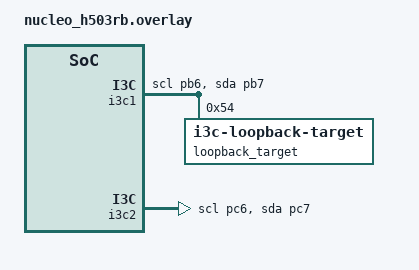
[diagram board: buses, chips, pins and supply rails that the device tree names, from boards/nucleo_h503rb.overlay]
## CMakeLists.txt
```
# Copyright (c) 2026 Meta Platforms
# SPDX-License-Identifier: Apache-2.0

cmake_minimum_required(VERSION 3.20.0)
find_package(Zephyr REQUIRED HINTS $ENV{ZEPHYR_BASE})
project(i3c_loopback_test)

target_sources(app PRIVATE
    src/common.c
    src/test_attach.c
    src/test_ccc.c
    src/test_configure.c
    src/test_daa.c
    src/test_hdr_ddr.c
    src/test_ibi.c
    src/test_target_api.c
    src/test_xfer.c
)

target_include_directories(app PRIVATE src)
```

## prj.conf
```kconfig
# Copyright (c) 2026 Meta Platforms
# SPDX-License-Identifier: Apache-2.0

# I3C subsys, dual-role so one controller can be put in target mode.
CONFIG_I3C=y
CONFIG_I3C_DUAL_ROLE=y

# IBI on both sides — controller delivers IBI callbacks via workq.
CONFIG_I3C_USE_IBI=y
CONFIG_I3C_IBI_WORKQUEUE=y
CONFIG_I3C_IBI_MAX_PAYLOAD_SIZE=16

# Testing
CONFIG_ZTEST=y
CONFIG_ZTEST_STACK_SIZE=4096

# Logging — useful when debugging on real hardware
CONFIG_LOG=y
CONFIG_I3C_LOG_LEVEL_DBG=y

# Heap for the few cases that allocate transient buffers.
CONFIG_HEAP_MEM_POOL_SIZE=4096

# Bigger main stack — DAA + multiple back-to-back transfers in setup.
CONFIG_MAIN_STACK_SIZE=4096
```

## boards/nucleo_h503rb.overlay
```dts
/*
 * Copyright (c) 2026 Meta Platforms
 * SPDX-License-Identifier: Apache-2.0
 *
 * Build-only overlay for nucleo_h503rb. The STM32H503RB exposes two
 * st,stm32-i3c controllers (i3c1, i3c2) and the package has pinctrl
 * options for both. To actually run the loopback test on hardware,
 * jumper i3c1's SCL/SDA pins (PB6/PB7) to i3c2's (PC6/PC7); twister
 * will execute only when the user passes --fixture i3c_loopback.
 *
 * i2c1 is disabled because it shares PB6/PB7 with i3c1.
 */

#include <zephyr/dt-bindings/i2c/i2c.h>

&i2c1 {
	status = "disabled";
};

&i3c1 {
	pinctrl-0 = <&i3c1_scl_pb6 &i3c1_sda_pb7>;
	pinctrl-names = "default";
	i3c-scl-hz = <12500000>;
	i2c-scl-hz = <I2C_BITRATE_FAST_PLUS>;
	status = "okay";

	loopback_target: target@5400abcd00001234 {
		compatible = "zephyr,i3c-loopback-target";
		reg = <0x54 0xabcd 0x00001234>;
	};
};

&i3c2 {
	pinctrl-0 = <&i3c2_scl_pc6 &i3c2_sda_pc7>;
	pinctrl-names = "default";
	i3c-scl-hz = <12500000>;
	i2c-scl-hz = <I2C_BITRATE_FAST_PLUS>;
	status = "okay";
};

/ {
	aliases {
		i3c-loopback-controller = &i3c1;
		i3c-loopback-target = &i3c2;
	};
};
```

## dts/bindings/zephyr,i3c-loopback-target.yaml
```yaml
# Copyright (c) 2026 Meta Platforms
# SPDX-License-Identifier: Apache-2.0

description: |
  Loopback target peripheral entry. Describes the static-address /
  PID portion of the loopback target so the controller bus can
  enumerate it during DAA. All other identity (BCR, DCR, MRL, MWL,
  supported HDR modes) is queried at runtime from the target-mode
  controller via i3c_config_get_target() so the test never duplicates
  the truth.

  reg cells: <static_addr  pid_hi  pid_lo>
    static_addr  — 0 if no static address (only DAA assignment)
    pid_hi       — bits[47:32] of the 48-bit Provisioned ID
    pid_lo       — bits[31:0]  of the 48-bit Provisioned ID

compatible: "zephyr,i3c-loopback-target"

include: i3c-device.yaml
```

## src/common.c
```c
/*
 * Copyright (c) 2026 Meta Platforms
 *
 * SPDX-License-Identifier: Apache-2.0
 */

#include "common.h"

#include <string.h>
#include <zephyr/init.h>
#include <zephyr/logging/log.h>

LOG_MODULE_REGISTER(i3c_loopback, LOG_LEVEL_INF);

const struct device *loopback_controller = DEVICE_DT_GET(LOOPBACK_CONTROLLER_NODE);
const struct device *loopback_target = DEVICE_DT_GET(LOOPBACK_TARGET_NODE);
struct i3c_device_desc *loopback_desc;

struct loopback_state g_loopback;

/* --- target-side callbacks --- */

static int loopback_target_write_received(struct i3c_target_config *cfg, uint8_t b)
{
	ARG_UNUSED(cfg);

	if (g_loopback.rx_cnt < LOOPBACK_RX_BUF_SIZE) {
		g_loopback.rx_buf[g_loopback.rx_cnt++] = b;
	}
	g_loopback.write_received_count++;
	return 0;
}

static int loopback_target_read_processed(struct i3c_target_config *cfg, uint8_t *b)
{
	ARG_UNUSED(cfg);

	/* TH callback continues a transfer past the controller's TX FIFO size.
	 * Only feeds bytes that were primed before the read began.
	 */
	if ((g_loopback.tx_cursor != 0) && (g_loopback.tx_cursor < g_loopback.tx_len)) {
		*b = g_loopback.tx_buf[g_loopback.tx_cursor++];
		g_loopback.read_processed_count++;
		return 0;
	}

	return -1;
}

static int loopback_target_stop(struct i3c_target_config *cfg)
{
	ARG_UNUSED(cfg);
	g_loopback.stop_count++;
	k_sem_give(&g_loopback.stop_sem);
	return 0;
}

const struct i3c_target_callbacks loopback_target_cbs = {
	.write_requested_cb = NULL,
	.write_received_cb = loopback_target_write_received,
	.read_requested_cb = NULL,
	.read_processed_cb = loopback_target_read_processed,
	.stop_cb = loopback_target_stop,
};

static struct i3c_target_config loopback_target_cfg = {
	.callbacks = &loopback_target_cbs,
};

/* --- controller-side IBI callback --- */

static int loopback_ibi_cb(struct i3c_device_desc *desc, struct i3c_ibi_payload *payload)
{
	ARG_UNUSED(desc);

	g_loopback.ibi_payload_len = MIN(payload->payload_len, CONFIG_I3C_IBI_MAX_PAYLOAD_SIZE);
	memcpy(g_loopback.ibi_payload, payload->payload, g_loopback.ibi_payload_len);
	k_sem_give(&g_loopback.ibi_sem);
	return 0;
}

/* --- helpers --- */

void loopback_reset_state(void)
{
	memset(g_loopback.rx_buf, 0, sizeof(g_loopback.rx_buf));
	memset(g_loopback.tx_buf, 0, sizeof(g_loopback.tx_buf));
	memset(g_loopback.ibi_payload, 0, sizeof(g_loopback.ibi_payload));
	g_loopback.rx_cnt = 0;
	g_loopback.tx_cursor = 0;
	g_loopback.tx_len = 0;
	g_loopback.ibi_payload_len = 0;
	g_loopback.stop_count = 0;
	g_loopback.write_received_count = 0;
	g_loopback.read_processed_count = 0;
	k_sem_reset(&g_loopback.stop_sem);
	k_sem_reset(&g_loopback.ibi_sem);
}

int loopback_redo_daa(void)
{
	int ret;

	ret = i3c_bus_rstdaa_all(loopback_controller);
	if (ret != 0) {
		return ret;
	}

	ret = i3c_do_daa(loopback_controller);
	if (ret != 0) {
		return ret;
	}

	if (loopback_desc != NULL && loopback_desc->dynamic_addr == 0) {
		return -ENODEV;
	}

	return 0;
}

int loopback_prime_target_tx(const uint8_t *data, size_t len, uint8_t hdr_mode)
{
	int ret;

	if (len > LOOPBACK_TX_BUF_SIZE) {
		return -EINVAL;
	}
	memcpy(g_loopback.tx_buf, data, len);
	g_loopback.tx_len = len;
	ret = i3c_target_tx_write(loopback_target, g_loopback.tx_buf, len, hdr_mode);
	if (ret < 0) {
		return ret;
	}
	g_loopback.tx_cursor = ret;
	return 0;
}

/* --- one-shot init: register target, do initial DAA, cache the desc --- */

static int loopback_global_init(void)
{
	int ret;
	const struct i3c_device_id id = I3C_DEVICE_ID_DT(LOOPBACK_TARGET_DESC_NODE);

	k_sem_init(&g_loopback.stop_sem, 0, 1);
	k_sem_init(&g_loopback.ibi_sem, 0, 1);

	if (!device_is_ready(loopback_controller)) {
		LOG_ERR("controller not ready");
		return -ENODEV;
	}
	if (!device_is_ready(loopback_target)) {
		LOG_ERR("target not ready");
		return -ENODEV;
	}

	ret = i3c_target_register(loopback_target, &loopback_target_cfg);
	if (ret != 0) {
		LOG_ERR("i3c_target_register: %d", ret);
		return ret;
	}

	loopback_desc = i3c_device_find(loopback_controller, &id);
	if (loopback_desc == NULL) {
		LOG_ERR("i3c_device_find for loopback target PID returned NULL");
		return -ENODEV;
	}
	loopback_desc->ibi_cb = loopback_ibi_cb;

	/* The controller's bus init normally runs DAA at boot; redo here so
	 * the desc has a DA known to be in sync after target_register
	 * (target_register may have changed the target side's DA state).
	 */
	ret = loopback_redo_daa();
	if (ret != 0) {
		LOG_ERR("initial DAA failed: %d", ret);
		return ret;
	}

	return 0;
}

SYS_INIT(loopback_global_init, APPLICATION, 90);

/*
 * Some I3C controller drivers enumerate child nodes at build time into a
 * per-controller device array; each child needs a backing DEVICE_DT_DEFINE
 * even when the actual device is just a marker for the loopback target.
 * This satisfies the linker without adding any runtime behavior.
 */
static int loopback_target_stub_init(const struct device *dev)
{
	ARG_UNUSED(dev);
	return 0;
}
I3C_DEVICE_DT_DEFINE(LOOPBACK_TARGET_DESC_NODE, loopback_target_stub_init, NULL, NULL, NULL,
		     POST_KERNEL, 80, NULL);
```

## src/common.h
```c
/*
 * Copyright (c) 2026 Meta Platforms
 *
 * SPDX-License-Identifier: Apache-2.0
 */

#ifndef I3C_LOOPBACK_COMMON_H_
#define I3C_LOOPBACK_COMMON_H_

#include <zephyr/devicetree.h>
#include <zephyr/device.h>
#include <zephyr/drivers/i3c.h>
#include <zephyr/drivers/i3c/target_device.h>
#include <zephyr/kernel.h>
#include <zephyr/ztest.h>
#include <stdint.h>

/*
 * Devicetree wiring contract (see README.rst):
 *   - i3c-loopback-controller : controller-mode bus
 *   - i3c-loopback-target     : target-mode bus
 *   - on the controller bus, a child of compatible
 *     "zephyr,i3c-loopback-target" describes the loopback target's
 *     static address and PID. All other identity (BCR, DCR, MRL,
 *     MWL, supported HDR modes) is queried at runtime from the
 *     target-mode controller via i3c_config_get_target() so the
 *     test never duplicates the truth.
 */
#define LOOPBACK_CONTROLLER_NODE DT_ALIAS(i3c_loopback_controller)
#define LOOPBACK_TARGET_NODE	 DT_ALIAS(i3c_loopback_target)
#define LOOPBACK_TARGET_DESC_NODE                                                                  \
	DT_COMPAT_GET_ANY_STATUS_OKAY(zephyr_i3c_loopback_target)

BUILD_ASSERT(DT_NODE_HAS_STATUS(LOOPBACK_CONTROLLER_NODE, okay),
	     "missing i3c-loopback-controller alias or node not okay");
BUILD_ASSERT(DT_NODE_HAS_STATUS(LOOPBACK_TARGET_NODE, okay),
	     "missing i3c-loopback-target alias or node not okay");
BUILD_ASSERT(DT_NODE_EXISTS(LOOPBACK_TARGET_DESC_NODE),
	     "missing zephyr,i3c-loopback-target child node");

/* Static 64-bit PID derived from the target child node's reg cells. */
#define LOOPBACK_TARGET_PID                                                                        \
	((((uint64_t)DT_PROP_BY_IDX(LOOPBACK_TARGET_DESC_NODE, reg, 1)) << 32) |                   \
	 ((uint64_t)DT_PROP_BY_IDX(LOOPBACK_TARGET_DESC_NODE, reg, 2)))

/*
 * Per-test state shared between target-side callbacks and the test thread.
 * A single global so registration is one-time; each test's `before` hook
 * zeroes the fields it cares about.
 */
#define LOOPBACK_RX_BUF_SIZE 64
#define LOOPBACK_TX_BUF_SIZE 64

struct loopback_state {
	struct k_sem stop_sem;	   /* released from target's stop_cb */
	struct k_sem ibi_sem;	   /* released from controller's ibi_cb */
	uint8_t rx_buf[LOOPBACK_RX_BUF_SIZE];
	volatile size_t rx_cnt;
	uint8_t tx_buf[LOOPBACK_TX_BUF_SIZE];
	volatile size_t tx_cursor;
	size_t tx_len;
	uint8_t ibi_payload[CONFIG_I3C_IBI_MAX_PAYLOAD_SIZE];
	uint8_t ibi_payload_len;
	volatile uint32_t stop_count;
	volatile uint32_t write_received_count;
	volatile uint32_t read_processed_count;
};

extern struct loopback_state g_loopback;

/*
 * Pre-built target-side callbacks used by suite setup. Each test's
 * `before` hook just zeroes g_loopback fields it cares about; the
 * callbacks themselves stay registered for the lifetime of the test
 * binary.
 */
extern const struct i3c_target_callbacks loopback_target_cbs;

/* Pointers populated by suite setup. */
extern const struct device *loopback_controller;
extern const struct device *loopback_target;
extern struct i3c_device_desc *loopback_desc;

/*
 * Helpers
 */

/*
 * Restore a known-DA state by RSTDAA-then-ENTDAA, leaving
 * loopback_desc->dynamic_addr populated. Tests that change the DA
 * (e.g. via i3c_bus_setnewda) call this in their `before` hook so
 * they don't poison downstream tests.
 */
int loopback_redo_daa(void);

/* Re-prime target TX FIFO with the given payload for the next read. */
int loopback_prime_target_tx(const uint8_t *data, size_t len, uint8_t hdr_mode);

/* Zero g_loopback counters/buffers without disturbing the semaphores. */
void loopback_reset_state(void);

#endif /* I3C_LOOPBACK_COMMON_H_ */
```

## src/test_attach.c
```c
/*
 * Copyright (c) 2026 Meta Platforms
 *
 * SPDX-License-Identifier: Apache-2.0
 *
 * attach / reattach / detach lifecycle (i3c side).
 */

#include "common.h"

#include <zephyr/drivers/i3c.h>
#include <zephyr/ztest.h>

#define WAIT K_MSEC(500)

static void attach_before(void *fixture)
{
	ARG_UNUSED(fixture);
	zassert_ok(loopback_redo_daa());
	loopback_reset_state();
}

static int do_one_write(uint8_t payload)
{
	struct i3c_msg msg = {
		.buf = &payload, .len = 1, .flags = I3C_MSG_WRITE | I3C_MSG_STOP,
	};
	return i3c_transfer(loopback_desc, &msg, 1);
}

ZTEST(i3c_loopback_attach, test_attach_then_xfer_succeeds)
{
	/* The desc is already attached by SYS_INIT — verify a transfer works. */
	zassert_ok(do_one_write(0x10));
	zassert_ok(k_sem_take(&g_loopback.stop_sem, WAIT));
}

ZTEST(i3c_loopback_attach, test_detach_then_xfer_fails)
{
	int ret;

	zassert_ok(i3c_detach_i3c_device(loopback_desc));

	ret = do_one_write(0x11);
	zassert_not_equal(0, ret, "transfer after detach should fail");

	/* Restore: re-attach and redo DAA so downstream tests work. */
	zassert_ok(i3c_attach_i3c_device(loopback_desc));
	zassert_ok(loopback_redo_daa());
}

ZTEST(i3c_loopback_attach, test_reattach_after_setnewda)
{
	uint8_t newda = (loopback_desc->dynamic_addr == 0x55) ? 0x56 : 0x55;

	zassert_ok(i3c_bus_setnewda(loopback_desc, newda));
	zassert_equal(newda, loopback_desc->dynamic_addr);

	zassert_ok(do_one_write(0x12));
	zassert_ok(k_sem_take(&g_loopback.stop_sem, WAIT));

	zassert_ok(loopback_redo_daa());
}

ZTEST(i3c_loopback_attach, test_detach_unknown_returns_status)
{
	struct i3c_device_desc bogus = *loopback_desc;
	int ret;

	bogus.controller_priv = NULL;
	ret = i3c_detach_i3c_device(&bogus);

	zassert_true(ret == 0 || ret == -EINVAL || ret == -ENODEV,
		     "detach of unknown desc should return 0/-EINVAL/-ENODEV, got %d", ret);
}

ZTEST(i3c_loopback_attach, test_reattach_keeps_transfer_working)
{
	uint8_t old_da = loopback_desc->dynamic_addr;

	/* No-op reattach (same DA) — should keep the slot mapping intact. */
	zassert_ok(i3c_reattach_i3c_device(loopback_desc, old_da));
	zassert_ok(do_one_write(0x13));
	zassert_ok(k_sem_take(&g_loopback.stop_sem, WAIT));
}

ZTEST_SUITE(i3c_loopback_attach, NULL, NULL, attach_before, NULL, NULL);
```

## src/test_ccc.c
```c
/*
 * Copyright (c) 2026 Meta Platforms
 *
 * SPDX-License-Identifier: Apache-2.0
 *
 * Common Command Code coverage. Expected target identity values are
 * queried at runtime from i3c_config_get_target() so the test never
 * duplicates DT properties.
 */

#include "common.h"

#include <zephyr/drivers/i3c.h>
#include <zephyr/drivers/i3c/ccc.h>
#include <zephyr/ztest.h>

static struct i3c_config_target tcfg;

static void ccc_before(void *fixture)
{
	ARG_UNUSED(fixture);
	zassert_ok(loopback_redo_daa());
	loopback_reset_state();
	zassert_ok(i3c_config_get_target(loopback_target, &tcfg));
}

ZTEST(i3c_loopback_ccc, test_getbcr)
{
	struct i3c_ccc_getbcr p = { .bcr = 0 };

	zassert_ok(i3c_ccc_do_getbcr(loopback_desc, &p));
	zassert_equal(tcfg.bcr, p.bcr, "expected BCR 0x%02x got 0x%02x", tcfg.bcr, p.bcr);
}

ZTEST(i3c_loopback_ccc, test_getdcr)
{
	struct i3c_ccc_getdcr p = { .dcr = 0 };

	zassert_ok(i3c_ccc_do_getdcr(loopback_desc, &p));
	zassert_equal(tcfg.dcr, p.dcr);
}

ZTEST(i3c_loopback_ccc, test_getpid)
{
	struct i3c_ccc_getpid p;
	uint64_t got = 0;

	zassert_ok(i3c_ccc_do_getpid(loopback_desc, &p));
	for (int i = 0; i < 6; i++) {
		got = (got << 8) | p.pid[i];
	}
	zassert_equal(tcfg.pid, got, "expected PID 0x%012llx got 0x%012llx", tcfg.pid, got);
}

ZTEST(i3c_loopback_ccc, test_getstatus_fmt1)
{
	union i3c_ccc_getstatus status = {0};

	zassert_ok(i3c_ccc_do_getstatus_fmt1(loopback_desc, &status));
}

ZTEST(i3c_loopback_ccc, test_getcaps_fmt1)
{
	union i3c_ccc_getcaps caps = {0};

	/* GETCAPS is mandatory for I3C v1.1+ devices, and for v1.0 devices
	 * only when BCR.ADV_CAPABILITIES is set. Skip when neither applies.
	 */
	if ((loopback_desc->flags & I3C_V1P0_SUPPORT) &&
	    (tcfg.bcr & I3C_BCR_ADV_CAPABILITIES) == 0) {
		ztest_test_skip();
	}

	zassert_ok(i3c_ccc_do_getcaps_fmt1(loopback_desc, &caps));
}

ZTEST(i3c_loopback_ccc, test_getmxds)
{
	union i3c_ccc_getmxds mxds = {0};

	if ((tcfg.bcr & I3C_BCR_MAX_DATA_SPEED_LIMIT) == 0) {
		ztest_test_skip();
	}
	zassert_ok(i3c_ccc_do_getmxds_fmt1(loopback_desc, &mxds));
}

ZTEST(i3c_loopback_ccc, test_getmrl)
{
	struct i3c_ccc_mrl mrl = {0};

	zassert_ok(i3c_ccc_do_getmrl(loopback_desc, &mrl));
	zassert_equal(tcfg.max_read_len, mrl.len,
		      "expected MRL %u got %u", tcfg.max_read_len, mrl.len);
}

ZTEST(i3c_loopback_ccc, test_getmwl)
{
	struct i3c_ccc_mwl mwl = {0};

	zassert_ok(i3c_ccc_do_getmwl(loopback_desc, &mwl));
	zassert_equal(tcfg.max_write_len, mwl.len,
		      "expected MWL %u got %u", tcfg.max_write_len, mwl.len);
}

ZTEST(i3c_loopback_ccc, test_setmrl_then_getmrl_roundtrip)
{
	struct i3c_ccc_mrl set = { .len = 0x40 };
	struct i3c_ccc_mrl get = {0};

	zassert_ok(i3c_ccc_do_setmrl(loopback_desc, &set));
	zassert_ok(i3c_ccc_do_getmrl(loopback_desc, &get));
	zassert_equal(set.len, get.len, "MRL roundtrip: set %u got %u", set.len, get.len);
}

ZTEST(i3c_loopback_ccc, test_setmwl_then_getmwl_roundtrip)
{
	struct i3c_ccc_mwl set = { .len = 0x20 };
	struct i3c_ccc_mwl get = {0};

	zassert_ok(i3c_ccc_do_setmwl(loopback_desc, &set));
	zassert_ok(i3c_ccc_do_getmwl(loopback_desc, &get));
	zassert_equal(set.len, get.len, "MWL roundtrip: set %u got %u", set.len, get.len);
}

ZTEST(i3c_loopback_ccc, test_enec_disec_intr_bit)
{
	struct i3c_ccc_events events = { .events = I3C_CCC_ENEC_EVT_ENINTR };

	zassert_ok(i3c_ccc_do_events_set(loopback_desc, false, &events));
	zassert_ok(i3c_ccc_do_events_set(loopback_desc, true, &events));
}

ZTEST(i3c_loopback_ccc, test_rstact_resets_target)
{
	int ret = i3c_ccc_do_rstact_fmt2(loopback_desc, I3C_CCC_RSTACT_PERIPHERAL_ONLY);

	/* RSTACT support is target-defined; both ENOTSUP (target NACK'd it)
	 * and OK are acceptable outcomes.
	 */
	zassert_true(ret == 0 || ret == -ENOTSUP, "unexpected RSTACT ret %d", ret);
}

ZTEST_SUITE(i3c_loopback_ccc, NULL, NULL, ccc_before, NULL, NULL);
```

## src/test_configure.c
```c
/*
 * Copyright (c) 2026 Meta Platforms
 *
 * SPDX-License-Identifier: Apache-2.0
 *
 * i3c_configure / i3c_config_get round-trip on both controller and
 * target sides, plus a transfer-at-new-speed sanity check.
 */

#include "common.h"

#include <string.h>
#include <zephyr/drivers/i3c.h>
#include <zephyr/ztest.h>

#define WAIT K_MSEC(500)

static struct i3c_config_controller saved_ctrl_cfg;

static void configure_before(void *fixture)
{
	ARG_UNUSED(fixture);
	zassert_ok(loopback_redo_daa());
	loopback_reset_state();
	zassert_ok(i3c_config_get_controller(loopback_controller, &saved_ctrl_cfg));
}

static void configure_after(void *fixture)
{
	ARG_UNUSED(fixture);
	/* Always restore the pre-test controller config so a slow-SCL test
	 * doesn't poison downstream suites.
	 */
	(void)i3c_configure_controller(loopback_controller, &saved_ctrl_cfg);
}

ZTEST(i3c_loopback_configure, test_get_controller_config)
{
	struct i3c_config_controller cfg = {0};

	zassert_ok(i3c_config_get_controller(loopback_controller, &cfg));
	zassert_true(cfg.scl.i3c > 0, "i3c SCL must be non-zero");
}

ZTEST(i3c_loopback_configure, test_get_target_config)
{
	struct i3c_config_target cfg = {0};

	zassert_ok(i3c_config_get_target(loopback_target, &cfg));
	zassert_not_equal(0, cfg.pid, "target should report a PID");
}

ZTEST(i3c_loopback_configure, test_set_controller_scl_then_roundtrip)
{
	struct i3c_config_controller cfg = saved_ctrl_cfg;
	struct i3c_config_controller readback = {0};

	cfg.scl.i3c = 1000000;
	zassert_ok(i3c_configure_controller(loopback_controller, &cfg));
	zassert_ok(i3c_config_get_controller(loopback_controller, &readback));

	/* Allow some implementations to round to nearest achievable. */
	zassert_true(readback.scl.i3c > 0 && readback.scl.i3c <= cfg.scl.i3c * 2,
		     "SCL readback %u out of range", readback.scl.i3c);
}

ZTEST(i3c_loopback_configure, test_set_controller_scl_then_transfer_succeeds)
{
	struct i3c_config_controller cfg = saved_ctrl_cfg;
	uint8_t b = 0x99;
	struct i3c_msg msg = {
		.buf = &b, .len = 1, .flags = I3C_MSG_WRITE | I3C_MSG_STOP,
	};

	cfg.scl.i3c = 1000000;
	zassert_ok(i3c_configure_controller(loopback_controller, &cfg));

	zassert_ok(i3c_transfer(loopback_desc, &msg, 1));
	zassert_ok(k_sem_take(&g_loopback.stop_sem, WAIT));
}

ZTEST(i3c_loopback_configure, test_set_controller_scl_restore)
{
	uint8_t b = 0xAA;
	struct i3c_msg msg = {
		.buf = &b, .len = 1, .flags = I3C_MSG_WRITE | I3C_MSG_STOP,
	};

	zassert_ok(i3c_configure_controller(loopback_controller, &saved_ctrl_cfg));
	zassert_ok(i3c_transfer(loopback_desc, &msg, 1));
	zassert_ok(k_sem_take(&g_loopback.stop_sem, WAIT));
}

ZTEST(i3c_loopback_configure, test_set_controller_invalid_type_rejects)
{
	int ret = i3c_configure(loopback_controller, I3C_CONFIG_CUSTOM, NULL);

	/* Accept -ENOTSUP, -EINVAL, or driver-specific negative. */
	zassert_not_equal(0, ret, "I3C_CONFIG_CUSTOM with NULL should not succeed");
}

ZTEST_SUITE(i3c_loopback_configure, NULL, NULL, configure_before, configure_after, NULL);
```

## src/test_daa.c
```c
/*
 * Copyright (c) 2026 Meta Platforms
 *
 * SPDX-License-Identifier: Apache-2.0
 *
 * DAA flow coverage via i3c_bus_* wrappers (which keep the device
 * desc in sync, unlike the lower-level i3c_ccc_do_* calls).
 */

#include "common.h"

#include <zephyr/drivers/i3c.h>
#include <zephyr/ztest.h>

#define WAIT K_MSEC(500)

static uint8_t pre_da;

static void daa_before(void *fixture)
{
	ARG_UNUSED(fixture);
	zassert_ok(loopback_redo_daa());
	pre_da = loopback_desc->dynamic_addr;
	zassert_not_equal(0, pre_da, "DAA didn't assign a dynamic addr");
	loopback_reset_state();
}

ZTEST(i3c_loopback_daa, test_rstdaa_clears_address)
{
	uint8_t b = 0xAA;
	struct i3c_msg msg = {
		.buf = &b, .len = 1, .flags = I3C_MSG_WRITE | I3C_MSG_STOP,
	};

	zassert_ok(i3c_bus_rstdaa_all(loopback_controller));
	zassert_equal(0, loopback_desc->dynamic_addr,
		      "i3c_bus_rstdaa_all should clear desc->dynamic_addr");

	int ret = i3c_transfer(loopback_desc, &msg, 1);

	zassert_not_equal(0, ret, "transfer should fail after RSTDAA");

	/* Restore for next test. */
	zassert_ok(loopback_redo_daa());
}

ZTEST(i3c_loopback_daa, test_entdaa_assigns_address)
{
	uint8_t b = 0x5A;
	struct i3c_msg msg = {
		.buf = &b, .len = 1, .flags = I3C_MSG_WRITE | I3C_MSG_STOP,
	};

	/* loopback_redo_daa() already ran in `before`. Just verify. */
	zassert_not_equal(0, loopback_desc->dynamic_addr);
	zassert_ok(i3c_transfer(loopback_desc, &msg, 1));
	zassert_ok(k_sem_take(&g_loopback.stop_sem, WAIT));
}

ZTEST(i3c_loopback_daa, test_setnewda_changes_address)
{
	uint8_t newda_addr = (pre_da == 0x5F) ? 0x60 : 0x5F;
	uint8_t b = 0x12;
	struct i3c_msg msg = {
		.buf = &b, .len = 1, .flags = I3C_MSG_WRITE | I3C_MSG_STOP,
	};

	zassert_ok(i3c_bus_setnewda(loopback_desc, newda_addr));
	zassert_equal(newda_addr, loopback_desc->dynamic_addr,
		      "i3c_bus_setnewda should update desc->dynamic_addr");

	zassert_ok(i3c_transfer(loopback_desc, &msg, 1));
	zassert_ok(k_sem_take(&g_loopback.stop_sem, WAIT));

	/* Restore. */
	zassert_ok(loopback_redo_daa());
}

ZTEST(i3c_loopback_daa, test_setdasa_with_static_addr)
{
	struct i3c_config_target tcfg;
	uint8_t b = 0x77;
	struct i3c_msg msg = {
		.buf = &b, .len = 1, .flags = I3C_MSG_WRITE | I3C_MSG_STOP,
	};

	zassert_ok(i3c_config_get_target(loopback_target, &tcfg));
	if (tcfg.static_addr == 0) {
		ztest_test_skip();
	}

	zassert_ok(i3c_bus_rstdaa_all(loopback_controller));
	zassert_ok(i3c_bus_setdasa(loopback_desc, tcfg.static_addr + 1));
	zassert_equal(tcfg.static_addr + 1, loopback_desc->dynamic_addr);

	zassert_ok(i3c_transfer(loopback_desc, &msg, 1));
	zassert_ok(k_sem_take(&g_loopback.stop_sem, WAIT));

	zassert_ok(loopback_redo_daa());
}

ZTEST(i3c_loopback_daa, test_setaasa_with_static_addr)
{
	struct i3c_config_target tcfg;
	uint8_t b = 0x88;
	struct i3c_msg msg = {
		.buf = &b, .len = 1, .flags = I3C_MSG_WRITE | I3C_MSG_STOP,
	};

	zassert_ok(i3c_config_get_target(loopback_target, &tcfg));
	if (tcfg.static_addr == 0 ||
	    (loopback_desc->flags & I3C_SUPPORTS_SETAASA) == 0) {
		ztest_test_skip();
	}

	zassert_ok(i3c_bus_rstdaa_all(loopback_controller));
	zassert_ok(i3c_bus_setaasa(loopback_controller));
	zassert_equal(tcfg.static_addr, loopback_desc->dynamic_addr,
		      "SETAASA should set DA == static_addr (%u, got %u)",
		      tcfg.static_addr, loopback_desc->dynamic_addr);

	/* Verify a real transfer round-trips at the static-as-dynamic address. */
	zassert_ok(i3c_transfer(loopback_desc, &msg, 1));
	zassert_ok(k_sem_take(&g_loopback.stop_sem, WAIT));

	zassert_ok(loopback_redo_daa());
}

ZTEST(i3c_loopback_daa, test_device_info_get_after_daa)
{
	struct i3c_config_target tcfg;

	zassert_ok(i3c_device_info_get(loopback_desc));
	zassert_ok(i3c_config_get_target(loopback_target, &tcfg));
	zassert_equal(tcfg.pid, loopback_desc->pid);
	zassert_equal(tcfg.bcr, loopback_desc->bcr);
	zassert_equal(tcfg.dcr, loopback_desc->dcr);
}

ZTEST_SUITE(i3c_loopback_daa, NULL, NULL, daa_before, NULL, NULL);
```

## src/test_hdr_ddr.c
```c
/*
 * Copyright (c) 2026 Meta Platforms
 *
 * SPDX-License-Identifier: Apache-2.0
 *
 * HDR-DDR private xfer coverage. Suite-level skip if either side
 * doesn't advertise HDR-DDR in its supported_hdr bitmask via
 * i3c_config_get_*().
 */

#include "common.h"

#include <string.h>
#include <zephyr/drivers/i3c.h>
#include <zephyr/ztest.h>

#define WAIT K_MSEC(500)

static void hdr_ddr_before(void *fixture)
{
	struct i3c_config_controller ccfg;
	struct i3c_config_target tcfg;

	ARG_UNUSED(fixture);

	zassert_ok(i3c_config_get_controller(loopback_controller, &ccfg));
	if ((ccfg.supported_hdr & I3C_MSG_HDR_DDR) == 0) {
		ztest_test_skip();
	}

	zassert_ok(i3c_config_get_target(loopback_target, &tcfg));
	if ((tcfg.supported_hdr & I3C_MSG_HDR_DDR) == 0) {
		ztest_test_skip();
	}

	zassert_ok(loopback_redo_daa());
	loopback_reset_state();
}

ZTEST(i3c_loopback_hdr_ddr, test_hdr_ddr_write_single_word)
{
	uint8_t tx[2] = {0x55, 0xAA};
	struct i3c_msg msg = {
		.buf = tx,
		.len = sizeof(tx),
		.flags = I3C_MSG_WRITE | I3C_MSG_HDR,
		.hdr_mode = I3C_MSG_HDR_DDR,
	};

	zassert_ok(i3c_transfer(loopback_desc, &msg, 1));
	zassert_ok(k_sem_take(&g_loopback.stop_sem, WAIT));
	zassert_mem_equal(tx, g_loopback.rx_buf, sizeof(tx));
}

ZTEST(i3c_loopback_hdr_ddr, test_hdr_ddr_write_multi_word)
{
	uint8_t tx[8] = {0x01, 0x02, 0x03, 0x04, 0x05, 0x06, 0x07, 0x08};
	struct i3c_msg msg = {
		.buf = tx,
		.len = sizeof(tx),
		.flags = I3C_MSG_WRITE | I3C_MSG_HDR,
		.hdr_mode = I3C_MSG_HDR_DDR,
	};

	zassert_ok(i3c_transfer(loopback_desc, &msg, 1));
	zassert_ok(k_sem_take(&g_loopback.stop_sem, WAIT));
	zassert_mem_equal(tx, g_loopback.rx_buf, sizeof(tx));
}

ZTEST(i3c_loopback_hdr_ddr, test_hdr_ddr_read_single_word)
{
	uint8_t prime[2] = {0xDE, 0xAD};
	uint8_t rx[2] = {0};
	struct i3c_msg msg = {
		.buf = rx,
		.len = sizeof(rx),
		.flags = I3C_MSG_READ | I3C_MSG_HDR | I3C_MSG_STOP,
		.hdr_mode = I3C_MSG_HDR_DDR,
	};

	zassert_ok(loopback_prime_target_tx(prime, sizeof(prime), I3C_MSG_HDR_DDR));
	zassert_ok(i3c_transfer(loopback_desc, &msg, 1));
	zassert_ok(k_sem_take(&g_loopback.stop_sem, WAIT));
	zassert_mem_equal(prime, rx, sizeof(prime));
}

ZTEST(i3c_loopback_hdr_ddr, test_hdr_ddr_read_multi_word)
{
	uint8_t prime[8] = {0xA0, 0xA1, 0xA2, 0xA3, 0xA4, 0xA5, 0xA6, 0xA7};
	uint8_t rx[8] = {0};
	struct i3c_msg msg = {
		.buf = rx,
		.len = sizeof(rx),
		.flags = I3C_MSG_READ | I3C_MSG_HDR | I3C_MSG_STOP,
		.hdr_mode = I3C_MSG_HDR_DDR,
	};

	zassert_ok(loopback_prime_target_tx(prime, sizeof(prime), I3C_MSG_HDR_DDR));
	zassert_ok(i3c_transfer(loopback_desc, &msg, 1));
	zassert_ok(k_sem_take(&g_loopback.stop_sem, WAIT));
	zassert_mem_equal(prime, rx, sizeof(prime));
}

ZTEST_SUITE(i3c_loopback_hdr_ddr, NULL, NULL, hdr_ddr_before, NULL, NULL);
```

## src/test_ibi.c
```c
/*
 * Copyright (c) 2026 Meta Platforms
 *
 * SPDX-License-Identifier: Apache-2.0
 *
 * In-band-interrupt coverage. Target capability is gated on its BCR
 * (queried from i3c_config_get_target) rather than DT properties:
 *   - I3C_BCR_IBI_REQUEST_CAPABLE: target advertises ability to raise
 *   - I3C_BCR_IBI_PAYLOAD_HAS_DATA_BYTE: target raises a payload IBI
 *     (with the MDB as the first byte) vs an MDB-less IBI.
 */

#include "common.h"

#include <string.h>
#include <zephyr/drivers/i3c.h>
#include <zephyr/drivers/i3c/ccc.h>
#include <zephyr/drivers/i3c/ibi.h>
#include <zephyr/ztest.h>

#define WAIT K_MSEC(500)
#define SHORT_WAIT K_MSEC(100)

#define LOOPBACK_MDB 0x61

static struct i3c_config_target tcfg;

static void ibi_before(void *fixture)
{
	ARG_UNUSED(fixture);
	zassert_ok(loopback_redo_daa());
	loopback_reset_state();
	zassert_ok(i3c_config_get_target(loopback_target, &tcfg));
	if ((tcfg.bcr & I3C_BCR_IBI_REQUEST_CAPABLE) == 0) {
		ztest_test_skip();
	}
}

static int raise_ibi_with_payload(void)
{
	uint8_t payload[5] = { LOOPBACK_MDB, 0xCA, 0xFE, 0xBA, 0xBE };
	struct i3c_ibi ibi = {
		.ibi_type = I3C_IBI_TARGET_INTR,
		.payload = payload,
		.payload_len = sizeof(payload),
	};
	return i3c_ibi_raise(loopback_target, &ibi);
}

static int raise_ibi_no_payload(void)
{
	struct i3c_ibi ibi = {
		.ibi_type = I3C_IBI_TARGET_INTR,
		.payload = NULL,
		.payload_len = 0,
	};
	return i3c_ibi_raise(loopback_target, &ibi);
}

ZTEST(i3c_loopback_ibi, test_ibi_enable_then_raise_delivers)
{
	zassert_ok(i3c_ibi_enable(loopback_desc));
	if (tcfg.bcr & I3C_BCR_IBI_PAYLOAD_HAS_DATA_BYTE) {
		zassert_ok(raise_ibi_with_payload());
	} else {
		zassert_ok(raise_ibi_no_payload());
	}
	zassert_ok(k_sem_take(&g_loopback.ibi_sem, WAIT), "IBI callback did not fire");
}

ZTEST(i3c_loopback_ibi, test_ibi_payload_with_mdb)
{
	uint8_t expected[5] = { LOOPBACK_MDB, 0xCA, 0xFE, 0xBA, 0xBE };

	if ((tcfg.bcr & I3C_BCR_IBI_PAYLOAD_HAS_DATA_BYTE) == 0) {
		ztest_test_skip();
	}

	zassert_ok(i3c_ibi_enable(loopback_desc));
	zassert_ok(raise_ibi_with_payload());
	zassert_ok(k_sem_take(&g_loopback.ibi_sem, WAIT));
	zassert_equal(sizeof(expected), g_loopback.ibi_payload_len,
		      "IBI payload len: expected %u got %u", (unsigned int)sizeof(expected),
		      g_loopback.ibi_payload_len);
	zassert_equal(LOOPBACK_MDB, g_loopback.ibi_payload[0],
		      "IBI first byte should be MDB 0x%02x, got 0x%02x", LOOPBACK_MDB,
		      g_loopback.ibi_payload[0]);
	zassert_mem_equal(expected, g_loopback.ibi_payload, sizeof(expected));
}

ZTEST(i3c_loopback_ibi, test_ibi_no_payload)
{
	if (tcfg.bcr & I3C_BCR_IBI_PAYLOAD_HAS_DATA_BYTE) {
		ztest_test_skip();
	}

	zassert_ok(i3c_ibi_enable(loopback_desc));
	zassert_ok(raise_ibi_no_payload());
	zassert_ok(k_sem_take(&g_loopback.ibi_sem, WAIT));
	zassert_equal(0, g_loopback.ibi_payload_len);
}

ZTEST(i3c_loopback_ibi, test_ibi_disec_blocks_raise)
{
	struct i3c_ccc_events events = { .events = I3C_CCC_ENEC_EVT_ENINTR };
	int ret;

	zassert_ok(i3c_ibi_enable(loopback_desc));
	zassert_ok(i3c_ccc_do_events_set(loopback_desc, false, &events));

	ret = (tcfg.bcr & I3C_BCR_IBI_PAYLOAD_HAS_DATA_BYTE) ? raise_ibi_with_payload()
							     : raise_ibi_no_payload();

	zassert_equal(-EAGAIN, ret, "raise after DISEC should -EAGAIN, got %d", ret);

	/* Restore for downstream. */
	zassert_ok(i3c_ccc_do_events_set(loopback_desc, true, &events));
}

ZTEST(i3c_loopback_ibi, test_ibi_enec_re_enables_raise)
{
	struct i3c_ccc_events events = { .events = I3C_CCC_ENEC_EVT_ENINTR };

	zassert_ok(i3c_ibi_enable(loopback_desc));
	zassert_ok(i3c_ccc_do_events_set(loopback_desc, false, &events));
	zassert_equal(-EAGAIN, (tcfg.bcr & I3C_BCR_IBI_PAYLOAD_HAS_DATA_BYTE)
				       ? raise_ibi_with_payload()
				       : raise_ibi_no_payload());
	zassert_ok(i3c_ccc_do_events_set(loopback_desc, true, &events));
	zassert_ok((tcfg.bcr & I3C_BCR_IBI_PAYLOAD_HAS_DATA_BYTE) ? raise_ibi_with_payload()
								  : raise_ibi_no_payload());
	zassert_ok(k_sem_take(&g_loopback.ibi_sem, WAIT));
}

ZTEST(i3c_loopback_ibi, test_ibi_disable_blocks_callback)
{
	zassert_ok(i3c_ibi_enable(loopback_desc));
	zassert_ok(i3c_ibi_disable(loopback_desc));

	/* Either the target refuses or the IBI is raised but the controller
	 * doesn't deliver — both acceptable. The test asserts only that the
	 * controller-side callback does NOT fire.
	 */
	(void)((tcfg.bcr & I3C_BCR_IBI_PAYLOAD_HAS_DATA_BYTE) ? raise_ibi_with_payload()
							      : raise_ibi_no_payload());

	zassert_not_equal(0, k_sem_take(&g_loopback.ibi_sem, SHORT_WAIT),
			  "IBI delivered after i3c_ibi_disable");
}

ZTEST(i3c_loopback_ibi, test_hj_raise_delivers_after_rstdaa)
{
	struct i3c_ibi ibi = { .ibi_type = I3C_IBI_HOTJOIN };
	int ret;

	/* Per spec, HJ only fires when the target has no dynamic address. */
	zassert_ok(i3c_bus_rstdaa_all(loopback_controller));
	zassert_equal(0, loopback_desc->dynamic_addr);

	ret = i3c_ibi_raise(loopback_target, &ibi);
	if (ret == -ENOTSUP) {
		ztest_test_skip();
	}
	zassert_ok(ret, "i3c_ibi_raise(HJ) returned %d", ret);

	/* HJ delivery semantics are controller-specific; just ensure no fault. */
	(void)k_sem_take(&g_loopback.ibi_sem, SHORT_WAIT);

	zassert_ok(loopback_redo_daa());
}

ZTEST(i3c_loopback_ibi, test_hj_response_disabled_blocks)
{
	struct i3c_ibi ibi = { .ibi_type = I3C_IBI_HOTJOIN };
	int ret;

	ret = i3c_ibi_hj_response(loopback_controller, false);
	if (ret == -ENOSYS || ret == -ENOTSUP) {
		ztest_test_skip();
	}
	zassert_ok(ret);

	zassert_ok(i3c_bus_rstdaa_all(loopback_controller));
	(void)i3c_ibi_raise(loopback_target, &ibi);

	zassert_not_equal(0, k_sem_take(&g_loopback.ibi_sem, SHORT_WAIT),
			  "HJ delivered while response disabled");

	/* Restore. */
	(void)i3c_ibi_hj_response(loopback_controller, true);
	zassert_ok(loopback_redo_daa());
}

ZTEST_SUITE(i3c_loopback_ibi, NULL, NULL, ibi_before, NULL, NULL);
```

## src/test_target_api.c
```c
/*
 * Copyright (c) 2026 Meta Platforms
 *
 * SPDX-License-Identifier: Apache-2.0
 *
 * i3c_target_register/unregister lifecycle and i3c_target_tx_write
 * FIFO behavior.
 */

#include "common.h"

#include <zephyr/drivers/i3c.h>
#include <zephyr/drivers/i3c/target_device.h>
#include <zephyr/ztest.h>

#define WAIT K_MSEC(500)

static struct i3c_target_config alt_cfg = {
	.callbacks = NULL,	/* filled in by suite setup */
};

static void target_api_before(void *fixture)
{
	ARG_UNUSED(fixture);
	zassert_ok(loopback_redo_daa());
	loopback_reset_state();
	alt_cfg.callbacks = &loopback_target_cbs;
}

ZTEST(i3c_loopback_target_api, test_target_unregister_register_lifecycle)
{
	int ret;

	ret = i3c_target_unregister(loopback_target, &alt_cfg);
	if (ret == -ENOSYS) {
		ztest_test_skip();
	}
	zassert_ok(ret);

	/* Re-register so downstream suites continue to work. */
	zassert_ok(i3c_target_register(loopback_target, &alt_cfg));

	/* Verify a transfer still completes. */
	uint8_t b = 0x44;
	struct i3c_msg msg = {
		.buf = &b, .len = 1, .flags = I3C_MSG_WRITE | I3C_MSG_STOP,
	};
	zassert_ok(loopback_redo_daa());
	zassert_ok(i3c_transfer(loopback_desc, &msg, 1));
	zassert_ok(k_sem_take(&g_loopback.stop_sem, WAIT));
}

ZTEST(i3c_loopback_target_api, test_target_tx_write_returns_byte_count)
{
	uint8_t data[4] = {0xAA, 0xBB, 0xCC, 0xDD};
	int ret = i3c_target_tx_write(loopback_target, data, sizeof(data), 0);

	zassert_true(ret >= 0, "i3c_target_tx_write returned %d", ret);
	zassert_true((size_t)ret <= sizeof(data),
		     "i3c_target_tx_write returned %d, expected <= %u", ret,
		     (unsigned int)sizeof(data));
}

ZTEST(i3c_loopback_target_api, test_target_tx_write_oversize_is_handled)
{
	uint8_t big[LOOPBACK_TX_BUF_SIZE];

	for (size_t i = 0; i < sizeof(big); ++i) {
		big[i] = (uint8_t)i;
	}

	int ret = i3c_target_tx_write(loopback_target, big, sizeof(big), 0);

	/* Either accepts all, partially fills, or returns an error — any
	 * deterministic outcome is OK as long as it doesn't crash.
	 */
	zassert_true(ret >= -EINVAL, "unexpected return %d", ret);
}

ZTEST_SUITE(i3c_loopback_target_api, NULL, NULL, target_api_before, NULL, NULL);
```

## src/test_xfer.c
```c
/*
 * Copyright (c) 2026 Meta Platforms
 *
 * SPDX-License-Identifier: Apache-2.0
 *
 * Private SDR transfer coverage: 1-byte, multi-byte, multi-msg with
 * STOP and RESTART, NBCH, num_xfer reporting; and the i3c_*write,
 * i3c_*read, i3c_write_read, i3c_burst_*, i3c_reg_* helper inlines.
 */

#include "common.h"

#include <string.h>
#include <zephyr/drivers/i3c.h>
#include <zephyr/ztest.h>

#define WAIT K_MSEC(500)

static void xfer_before(void *fixture)
{
	ARG_UNUSED(fixture);
	loopback_reset_state();
}

ZTEST(i3c_loopback_xfer, test_private_write_single_byte)
{
	uint8_t tx[1] = {0x5a};
	struct i3c_msg msg = {
		.buf = tx,
		.len = sizeof(tx),
		.flags = I3C_MSG_WRITE | I3C_MSG_STOP,
	};

	zassert_ok(i3c_transfer(loopback_desc, &msg, 1));
	zassert_ok(k_sem_take(&g_loopback.stop_sem, WAIT), "no stop");
	zassert_equal(1, g_loopback.rx_cnt);
	zassert_mem_equal(tx, g_loopback.rx_buf, sizeof(tx));
}

ZTEST(i3c_loopback_xfer, test_private_write_multi_byte)
{
	uint8_t tx[8] = {0x01, 0x02, 0x03, 0x04, 0x05, 0x06, 0x07, 0x08};
	struct i3c_msg msg = {
		.buf = tx,
		.len = sizeof(tx),
		.flags = I3C_MSG_WRITE | I3C_MSG_STOP,
	};

	zassert_ok(i3c_transfer(loopback_desc, &msg, 1));
	zassert_ok(k_sem_take(&g_loopback.stop_sem, WAIT));
	zassert_equal(sizeof(tx), g_loopback.rx_cnt);
	zassert_mem_equal(tx, g_loopback.rx_buf, sizeof(tx));
}

ZTEST(i3c_loopback_xfer, test_private_write_max_size)
{
	uint8_t tx[32];
	struct i3c_msg msg = {
		.buf = tx,
		.len = sizeof(tx),
		.flags = I3C_MSG_WRITE | I3C_MSG_STOP,
	};

	for (size_t i = 0; i < sizeof(tx); ++i) {
		tx[i] = (uint8_t)(0xa0 + i);
	}

	zassert_ok(i3c_transfer(loopback_desc, &msg, 1));
	zassert_ok(k_sem_take(&g_loopback.stop_sem, WAIT));
	zassert_equal(sizeof(tx), g_loopback.rx_cnt);
	zassert_mem_equal(tx, g_loopback.rx_buf, sizeof(tx));
}

ZTEST(i3c_loopback_xfer, test_private_read_single_byte)
{
	uint8_t tx[1] = {0x42};
	uint8_t rx[1] = {0};
	struct i3c_msg msg = {
		.buf = rx,
		.len = sizeof(rx),
		.flags = I3C_MSG_READ | I3C_MSG_STOP,
	};

	zassert_ok(loopback_prime_target_tx(tx, sizeof(tx), 0));
	zassert_ok(i3c_transfer(loopback_desc, &msg, 1));
	zassert_ok(k_sem_take(&g_loopback.stop_sem, WAIT));
	zassert_equal(tx[0], rx[0]);
}

ZTEST(i3c_loopback_xfer, test_private_read_multi_byte)
{
	uint8_t tx[16];
	uint8_t rx[16] = {0};
	struct i3c_msg msg = {
		.buf = rx,
		.len = sizeof(rx),
		.flags = I3C_MSG_READ | I3C_MSG_STOP,
	};

	for (size_t i = 0; i < sizeof(tx); ++i) {
		tx[i] = (uint8_t)(0xb0 + i);
	}

	zassert_ok(loopback_prime_target_tx(tx, sizeof(tx), 0));
	zassert_ok(i3c_transfer(loopback_desc, &msg, 1));
	zassert_ok(k_sem_take(&g_loopback.stop_sem, WAIT));
	zassert_mem_equal(tx, rx, sizeof(tx));
}

ZTEST(i3c_loopback_xfer, test_private_read_num_xfer_reporting)
{
	uint8_t tx[4] = {0xC0, 0xC1, 0xC2, 0xC3};
	uint8_t rx[4] = {0};
	struct i3c_msg msg = {
		.buf = rx,
		.len = sizeof(rx),
		.flags = I3C_MSG_READ | I3C_MSG_STOP,
	};

	zassert_ok(loopback_prime_target_tx(tx, sizeof(tx), 0));
	zassert_ok(i3c_transfer(loopback_desc, &msg, 1));
	zassert_ok(k_sem_take(&g_loopback.stop_sem, WAIT));
	zassert_equal(sizeof(tx), msg.num_xfer, "num_xfer=%u expected %u", msg.num_xfer,
		      (unsigned int)sizeof(tx));
}

ZTEST(i3c_loopback_xfer, test_msg_pair_write_then_read_with_restart)
{
	uint8_t reg_addr[1] = {0x10};
	uint8_t prime[2] = {0xDE, 0xAD};
	uint8_t rx[2] = {0};
	struct i3c_msg msgs[2] = {
		{
			.buf = reg_addr,
			.len = sizeof(reg_addr),
			.flags = I3C_MSG_WRITE,
		},
		{
			.buf = rx,
			.len = sizeof(rx),
			.flags = I3C_MSG_RESTART | I3C_MSG_READ | I3C_MSG_STOP,
		},
	};

	zassert_ok(loopback_prime_target_tx(prime, sizeof(prime), 0));
	zassert_ok(i3c_transfer(loopback_desc, msgs, 2));
	zassert_ok(k_sem_take(&g_loopback.stop_sem, WAIT));
	zassert_equal(reg_addr[0], g_loopback.rx_buf[0]);
	zassert_mem_equal(prime, rx, sizeof(prime));
}

ZTEST(i3c_loopback_xfer, test_msg_pair_write_then_read_with_stop)
{
	uint8_t tx[2] = {0x11, 0x22};
	uint8_t prime[2] = {0xBE, 0xEF};
	uint8_t rx[2] = {0};
	struct i3c_msg msgs_w[1] = {
		{ .buf = tx, .len = sizeof(tx), .flags = I3C_MSG_WRITE | I3C_MSG_STOP },
	};
	struct i3c_msg msgs_r[1] = {
		{ .buf = rx, .len = sizeof(rx), .flags = I3C_MSG_READ | I3C_MSG_STOP },
	};

	zassert_ok(i3c_transfer(loopback_desc, msgs_w, 1));
	zassert_ok(k_sem_take(&g_loopback.stop_sem, WAIT));
	zassert_mem_equal(tx, g_loopback.rx_buf, sizeof(tx));

	loopback_reset_state();
	zassert_ok(loopback_prime_target_tx(prime, sizeof(prime), 0));
	zassert_ok(i3c_transfer(loopback_desc, msgs_r, 1));
	zassert_ok(k_sem_take(&g_loopback.stop_sem, WAIT));
	zassert_mem_equal(prime, rx, sizeof(prime));
}

ZTEST(i3c_loopback_xfer, test_msg_three_write_chain_with_restart)
{
	uint8_t a[2] = {0xAA, 0xAB};
	uint8_t b[2] = {0xBB, 0xBC};
	uint8_t c[2] = {0xCC, 0xCD};
	struct i3c_msg msgs[3] = {
		{ .buf = a, .len = sizeof(a), .flags = I3C_MSG_WRITE },
		{ .buf = b, .len = sizeof(b), .flags = I3C_MSG_RESTART | I3C_MSG_WRITE },
		{ .buf = c, .len = sizeof(c),
		  .flags = I3C_MSG_RESTART | I3C_MSG_WRITE | I3C_MSG_STOP },
	};
	uint8_t expected[6];

	memcpy(&expected[0], a, sizeof(a));
	memcpy(&expected[2], b, sizeof(b));
	memcpy(&expected[4], c, sizeof(c));

	zassert_ok(i3c_transfer(loopback_desc, msgs, 3));
	zassert_ok(k_sem_take(&g_loopback.stop_sem, WAIT));
	zassert_equal(sizeof(expected), g_loopback.rx_cnt);
	zassert_mem_equal(expected, g_loopback.rx_buf, sizeof(expected));
}

ZTEST(i3c_loopback_xfer, test_msg_chain_mixed_lengths)
{
	uint8_t a[1] = {0x77};
	uint8_t b[3] = {0x88, 0x89, 0x8A};
	uint8_t c[5] = {0x91, 0x92, 0x93, 0x94, 0x95};
	struct i3c_msg msgs[3] = {
		{ .buf = a, .len = sizeof(a), .flags = I3C_MSG_WRITE },
		{ .buf = b, .len = sizeof(b), .flags = I3C_MSG_RESTART | I3C_MSG_WRITE },
		{ .buf = c, .len = sizeof(c),
		  .flags = I3C_MSG_RESTART | I3C_MSG_WRITE | I3C_MSG_STOP },
	};
	uint8_t expected[9];

	memcpy(&expected[0], a, sizeof(a));
	memcpy(&expected[1], b, sizeof(b));
	memcpy(&expected[4], c, sizeof(c));

	zassert_ok(i3c_transfer(loopback_desc, msgs, 3));
	zassert_ok(k_sem_take(&g_loopback.stop_sem, WAIT));
	zassert_equal(sizeof(expected), g_loopback.rx_cnt);
	zassert_mem_equal(expected, g_loopback.rx_buf, sizeof(expected));
}

ZTEST(i3c_loopback_xfer, test_nbch_write_skips_broadcast)
{
	uint8_t tx[2] = {0x33, 0x44};
	struct i3c_msg msg = {
		.buf = tx,
		.len = sizeof(tx),
		.flags = I3C_MSG_WRITE | I3C_MSG_NBCH | I3C_MSG_STOP,
	};

	zassert_ok(i3c_transfer(loopback_desc, &msg, 1));
	zassert_ok(k_sem_take(&g_loopback.stop_sem, WAIT));
	zassert_mem_equal(tx, g_loopback.rx_buf, sizeof(tx));
}

ZTEST(i3c_loopback_xfer, test_i3c_write_helper)
{
	uint8_t tx[3] = {0x55, 0x66, 0x77};

	zassert_ok(i3c_write(loopback_desc, tx, sizeof(tx)));
	zassert_ok(k_sem_take(&g_loopback.stop_sem, WAIT));
	zassert_mem_equal(tx, g_loopback.rx_buf, sizeof(tx));
}

ZTEST(i3c_loopback_xfer, test_i3c_read_helper)
{
	uint8_t prime[3] = {0xA1, 0xA2, 0xA3};
	uint8_t rx[3] = {0};

	zassert_ok(loopback_prime_target_tx(prime, sizeof(prime), 0));
	zassert_ok(i3c_read(loopback_desc, rx, sizeof(rx)));
	zassert_ok(k_sem_take(&g_loopback.stop_sem, WAIT));
	zassert_mem_equal(prime, rx, sizeof(prime));
}

ZTEST(i3c_loopback_xfer, test_i3c_write_read_helper)
{
	uint8_t cmd[2] = {0x20, 0x21};
	uint8_t prime[4] = {0xE0, 0xE1, 0xE2, 0xE3};
	uint8_t rx[4] = {0};

	zassert_ok(loopback_prime_target_tx(prime, sizeof(prime), 0));
	zassert_ok(i3c_write_read(loopback_desc, cmd, sizeof(cmd), rx, sizeof(rx)));
	zassert_ok(k_sem_take(&g_loopback.stop_sem, WAIT));
	zassert_equal(cmd[0], g_loopback.rx_buf[0]);
	zassert_equal(cmd[1], g_loopback.rx_buf[1]);
	zassert_mem_equal(prime, rx, sizeof(prime));
}

ZTEST(i3c_loopback_xfer, test_i3c_burst_write_and_burst_read)
{
	uint8_t start = 0x40;
	uint8_t tx[3] = {0xD0, 0xD1, 0xD2};
	uint8_t prime[3] = {0xF0, 0xF1, 0xF2};
	uint8_t rx[3] = {0};

	zassert_ok(i3c_burst_write(loopback_desc, start, tx, sizeof(tx)));
	zassert_ok(k_sem_take(&g_loopback.stop_sem, WAIT));
	zassert_equal(start, g_loopback.rx_buf[0]);
	zassert_mem_equal(tx, &g_loopback.rx_buf[1], sizeof(tx));

	loopback_reset_state();
	zassert_ok(loopback_prime_target_tx(prime, sizeof(prime), 0));
	zassert_ok(i3c_burst_read(loopback_desc, start, rx, sizeof(rx)));
	zassert_ok(k_sem_take(&g_loopback.stop_sem, WAIT));
	zassert_equal(start, g_loopback.rx_buf[0]);
	zassert_mem_equal(prime, rx, sizeof(prime));
}

ZTEST(i3c_loopback_xfer, test_i3c_reg_byte_helpers)
{
	uint8_t prime[1] = {0x5A};
	uint8_t val = 0;

	/* reg_write_byte: payload is {reg, val} */
	zassert_ok(i3c_reg_write_byte(loopback_desc, 0x08, 0xC3));
	zassert_ok(k_sem_take(&g_loopback.stop_sem, WAIT));
	zassert_equal(0x08, g_loopback.rx_buf[0]);
	zassert_equal(0xC3, g_loopback.rx_buf[1]);

	loopback_reset_state();
	/* reg_read_byte: writes reg then reads 1 byte */
	zassert_ok(loopback_prime_target_tx(prime, sizeof(prime), 0));
	zassert_ok(i3c_reg_read_byte(loopback_desc, 0x08, &val));
	zassert_ok(k_sem_take(&g_loopback.stop_sem, WAIT));
	zassert_equal(prime[0], val);
}

ZTEST(i3c_loopback_xfer, test_setmwl_limit_enforced)
{
	struct i3c_ccc_mwl mwl_set = { .len = 4 };
	struct i3c_ccc_mwl mwl_orig;
	uint8_t tx_under[4] = {0x01, 0x02, 0x03, 0x04};
	uint8_t tx_over[5] = {0x01, 0x02, 0x03, 0x04, 0x05};
	struct i3c_msg msg_under = {
		.buf = tx_under, .len = sizeof(tx_under),
		.flags = I3C_MSG_WRITE | I3C_MSG_STOP,
	};
	struct i3c_msg msg_over = {
		.buf = tx_over, .len = sizeof(tx_over),
		.flags = I3C_MSG_WRITE | I3C_MSG_STOP,
	};
	int ret;

	/* Snapshot so we can restore. */
	zassert_ok(i3c_ccc_do_getmwl(loopback_desc, &mwl_orig));

	/* Cap MWL at 4 bytes. */
	zassert_ok(i3c_ccc_do_setmwl(loopback_desc, &mwl_set));

	/* Write at the limit must succeed and deliver all bytes. */
	zassert_ok(i3c_transfer(loopback_desc, &msg_under, 1));
	zassert_ok(k_sem_take(&g_loopback.stop_sem, WAIT));
	zassert_equal(sizeof(tx_under), g_loopback.rx_cnt);
	zassert_mem_equal(tx_under, g_loopback.rx_buf, sizeof(tx_under));

	/* Write over the limit: per spec, target silently drops bytes past
	 * MWL — so the transfer call may succeed but the target receives
	 * <= MWL bytes. Accept either: an error from the transfer, OR
	 * delivery truncated to <= MWL bytes.
	 */
	loopback_reset_state();
	ret = i3c_transfer(loopback_desc, &msg_over, 1);
	(void)k_sem_take(&g_loopback.stop_sem, WAIT);
	if (ret == 0) {
		zassert_true(g_loopback.rx_cnt <= mwl_set.len,
			     "MWL ignored: target got %u bytes, MWL=%u",
			     (unsigned int)g_loopback.rx_cnt, mwl_set.len);
	}

	/* Restore. */
	(void)i3c_ccc_do_setmwl(loopback_desc, &mwl_orig);
}

ZTEST(i3c_loopback_xfer, test_setmrl_limit_enforced)
{
	struct i3c_ccc_mrl mrl_set = { .len = 4 };
	struct i3c_ccc_mrl mrl_orig;
	uint8_t prime[8] = {0xA0, 0xA1, 0xA2, 0xA3, 0xA4, 0xA5, 0xA6, 0xA7};
	uint8_t rx[8] = {0};
	struct i3c_msg msg = {
		.buf = rx, .len = sizeof(rx),
		.flags = I3C_MSG_READ | I3C_MSG_STOP,
	};
	int ret;

	zassert_ok(i3c_ccc_do_getmrl(loopback_desc, &mrl_orig));
	zassert_ok(i3c_ccc_do_setmrl(loopback_desc, &mrl_set));

	zassert_ok(loopback_prime_target_tx(prime, sizeof(prime), 0));

	/* Per spec, target's TX is capped at MRL — the controller's read
	 * either truncates or errors. Either is acceptable. msg.num_xfer
	 * must be <= MRL.
	 */
	ret = i3c_transfer(loopback_desc, &msg, 1);
	(void)k_sem_take(&g_loopback.stop_sem, WAIT);
	if (ret == 0) {
		zassert_true(msg.num_xfer <= mrl_set.len,
			     "MRL ignored: read got %u bytes, MRL=%u", msg.num_xfer,
			     mrl_set.len);
	}

	(void)i3c_ccc_do_setmrl(loopback_desc, &mrl_orig);
}

ZTEST_SUITE(i3c_loopback_xfer, NULL, NULL, xfer_before, NULL, NULL);
```
